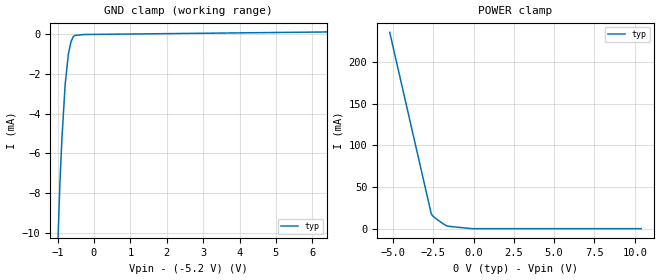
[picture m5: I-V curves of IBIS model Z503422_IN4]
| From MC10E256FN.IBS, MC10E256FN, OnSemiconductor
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| (C) COPYRIGHT 1993-2000
| MENTOR GRAPHICS CORPORATION
| ICX STANDARD LIBRARY, ICX PROJECT MODELING,
| ICX CUSTOM MODELING, ICX VENDOR MODEL
| ALL RIGHTS RESERVED.
| THE FOLLOWING ARE TRADEMARKS OR SERVICE MARKS OF
| MENTOR GRAPHICS CORPORATION:ICX (R), ICX STANDARD
| LIBRARY(R), ICX PROJECT MODELING(R), ICX CUSTOM
| MODELING(R), qualityIBIS(TM), MODELVIEWER(TM),
| AND MODELEDITOR(TM)
| ALL COPIES OF SOFTWARE, INCLUDING BUT NOT LIMITED TO
| ANY MODIFICATIONS, ENHANCEMENTS OR DERIVATIVE WORKS,
| MUST CONTAIN ALL MENTOR GRAPHICS CORPORATION'S
| NOTICES AND LEGENDS, INCLUDING THOSE EMBEDDED IN
| SOFTWARE AND THOSE AFFIXED TO SOFTWARE MEDIUM
| AND CONTAINER, AS RECEIVED FROM MENTOR GRAPHICS
| CORPORATION.
| Model Application Version 1.89 2/18/99.
[Model] Z503422_IN4
Model_type Input_ECL
Vinl = -1.480V
Vinh = -1.130V
C_comp 4.000pF NA NA
| variable typ   min   max
[Voltage Range] -5.200V NA NA
[GND Clamp Reference] -5.200V NA NA
[POWER Clamp Reference] 0.000V NA NA
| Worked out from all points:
|   GND clamp passes 1 mA (typ) near -0.70 V on its own axis
[GND Clamp]
-5.2V     -334.2mA   NA         NA
-1.079V   -15.36mA   NA         NA
-938mV    -7.601mA   NA         NA
-879mV    -5.215mA   NA         NA
-791mV    -2.523mA   NA         NA
-703mV    -995.6uA   NA         NA
-631mV    -380.5uA   NA         NA
-575mV    -145.8uA   NA         NA
-532mV    -63.5uA    NA         NA
-266mV    -14.16uA   NA         NA
10.4V     190.2uA    NA         NA
[POWER Clamp]
-5.2V     235.6mA    NA         NA
-2.632V   18.56mA    NA         NA
-2.529V   15.17mA    NA         NA
-2.324V   11.95mA    NA         NA
-1.633V   3.19mA     NA         NA
-75.45mV  0A         NA         NA
10.4V     0A         NA         NA
